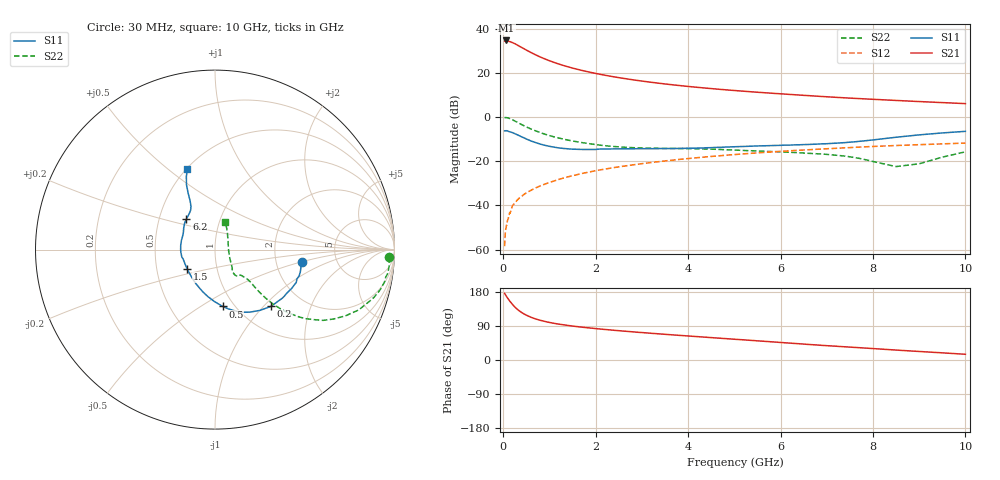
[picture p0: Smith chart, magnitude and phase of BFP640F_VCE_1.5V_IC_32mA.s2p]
! Infineon Technologies  Discrete & RF Semiconductors
! BFP640F
! VCE =  1.5 V,  IC =  32 mA
! Common Emitter S-Parameters:  Apr 2013
# GHz  S  MA  R  50
!  f  S11  S21  S12  S22
! GHz  MAG  ANG  MAG  ANG  MAG  ANG  MAG  ANG
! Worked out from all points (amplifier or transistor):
!   99 points, 30 MHz to 10 GHz, reference 50 ohm
!   highest |S21| = 34.7 dB at 70 MHz (marker M1)
!   |S21| within 3 dB of that: start of sweep to 384 MHz
!   unconditionally stable (mu >= 1): 1.712 GHz to end of sweep
!   at 350 MHz: K = 0.49, MSG = 34.3 dB, |S12| = -36.6 dB
!   at 3.5 GHz: K = 1.06, MAG = 15.9 dB, |S12| = -19.8 dB
!   at 10 GHz: K = 1.04, MAG = 7.7 dB, |S12| = -11.8 dB
!   S11 on the Smith chart (normalised r, x): 30 MHz: 2.80, -0.49; 200 MHz: 1.40, -1.10; 500 MHz: 0.88, -0.62; 1.5 GHz: 0.72, -0.16; 6.2 GHz: 0.69, +0.25; 10 GHz: 0.50, +0.59
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0.03  0.4871 -7.9  52.39 175.6  0.0012 93.6  0.9719 -2.5
0.05  0.4899 -13.0  53.83 171.9  0.0028 63.3  0.9747 -5.4
0.07  0.4912 -17.3  54.12 168.0  0.0036 94.8  0.9719 -7.8
0.13  0.4673 -31.8  51.25 157.3  0.0063 83.2  0.9327 -15.6
0.2  0.4442 -45.4  48.33 146.6  0.0099 77.0  0.8681 -22.8
0.25  0.4214 -53.4  45.8 140.1  0.0113 73.9  0.8156 -26.9
0.3  0.3994 -60.7  43 134.3  0.0131 74.4  0.7661 -30.3
0.4  0.3556 -72.8  37.56 125.2  0.0161 71.9  0.6734 -35.4
0.5  0.3195 -82.3  32.8 118.3  0.0193 71.7  0.5998 -38.7
0.6  0.2884 -90.9  28.89 112.8  0.022 71.7  0.5376 -40.9
0.7  0.2645 -98.7  25.59 108.4  0.0249 71.5  0.4878 -42.2
0.9  0.2299 -112.5  20.7 101.8  0.0304 71.1  0.4105 -43.6
1.2  0.2007 -130.6  15.88 94.7  0.0388 70.7  0.3359 -43.7
1.5  0.1878 -145.4  12.84 89.6  0.0471 70.1  0.2877 -42.9
1.7  0.1852 -153.7  11.39 86.7  0.0528 69.5  0.2646 -42.4
2.4  0.1908 -174.9  8.126 78.4  0.072 66.8  0.2158 -43.9
3.4  0.1941 164.6  5.778 68.7  0.099 61.9  0.1958 -47.5
5.1  0.2147 143.8  3.917 54.0  0.1444 52.8  0.1777 -51.9
6.2  0.2318 133.4  3.254 44.6  0.1725 46.1  0.1598 -51.6
6.7  0.2424 127.6  3.011 40.3  0.1846 43.2  0.1496 -50.0
8.5  0.3495 115.4  2.378 26.2  0.2273 32.2  0.0759 -3.9
10  0.4755 108.8  2.017 15.1  0.2579 23.3  0.1637 69.4
